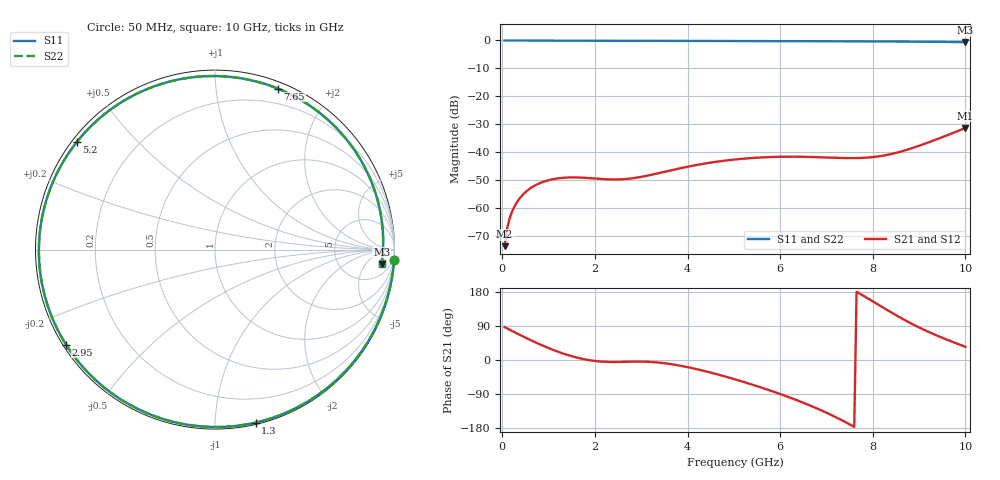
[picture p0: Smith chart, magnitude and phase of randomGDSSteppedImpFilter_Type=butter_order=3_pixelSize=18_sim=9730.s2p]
! freq	dB(S11)	phase(S11)	dB(S12)	phase(S12)
!  dB(S21)	phase(S21)	dB(S22)	phase(S22)
!S-par simulation data
#  GHz  S  DB  R 50
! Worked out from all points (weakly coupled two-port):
!   200 points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, 50 MHz to 10 GHz, reference 50 ohm
!   highest |S21| = -31.40 dB at 10 GHz (marker M1); lowest = -73.8 dB at 50 MHz (marker M2)
!   lowest |S11| = -0.6 dB at 10 GHz (marker M3), VSWR 28.37, Z = 575 - j695 ohm
!   |S11| at or under -10 dB: nowhere
!   |S22| runs from -0.6 to 0.0 dB; largest |S21 - S12| = 0
!   S11 on the Smith chart (normalised r, x): 50 MHz: 0, -36; 1.3 GHz: 0.01, -1.26; 2.95 GHz: 0.01, -0.29; 5.2 GHz: 0.01, +0.34; 7.65 GHz: 0.06, +1.46; 10 GHz: 12, -14
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0.05  -0.00 -3.2  -73.79 86.8  -73.79 86.8  -0.00 -3.2
0.1  -0.01 -6.4  -67.80 83.6  -67.80 83.6  -0.01 -6.4
0.15  -0.01 -9.5  -64.31 80.4  -64.31 80.4  -0.01 -9.5
0.25  -0.02 -15.8  -59.98 74.2  -59.98 74.2  -0.02 -15.8
0.4  -0.04 -25.1  -56.14 65.0  -56.14 65.0  -0.04 -25.2
0.6  -0.05 -37.3  -53.10 53.1  -53.10 53.1  -0.05 -37.4
0.8  -0.06 -49.2  -51.25 41.8  -51.25 41.8  -0.06 -49.2
1.3  -0.09 -76.8  -49.29 17.6  -49.29 17.6  -0.09 -76.8
1.75  -0.11 -98.9  -49.24 2.5  -49.24 2.5  -0.11 -98.9
2.35  -0.12 -124.8  -49.85 -5.3  -49.85 -5.3  -0.12 -124.8
2.95  -0.14 -147.5  -49.09 -4.2  -49.09 -4.2  -0.14 -147.4
3.4  -0.15 -162.9  -47.50 -7.1  -47.50 -7.1  -0.15 -162.8
4.2  -0.17 171.8  -44.65 -24.2  -44.65 -24.2  -0.17 171.9
5.05  -0.21 146.5  -42.65 -51.9  -42.65 -51.9  -0.21 146.6
5.2  -0.21 142.1  -42.42 -57.4  -42.42 -57.4  -0.21 142.2
6  -0.25 118.6  -41.73 -89.7  -41.73 -89.7  -0.25 118.8
6.7  -0.28 97.8  -41.81 -122.9  -41.81 -122.9  -0.28 98.0
7.2  -0.30 82.6  -42.10 -150.8  -42.10 -150.8  -0.30 82.8
7.65  -0.33 68.7  -42.19 180.0  -42.19 180.0  -0.33 68.9
8.35  -0.37 46.8  -40.91 129.1  -40.91 129.1  -0.37 47.0
9.2  -0.46 20.0  -36.59 74.4  -36.59 74.4  -0.46 20.3
10  -0.61 -4.9  -31.40 34.9  -31.40 34.9  -0.61 -4.6
